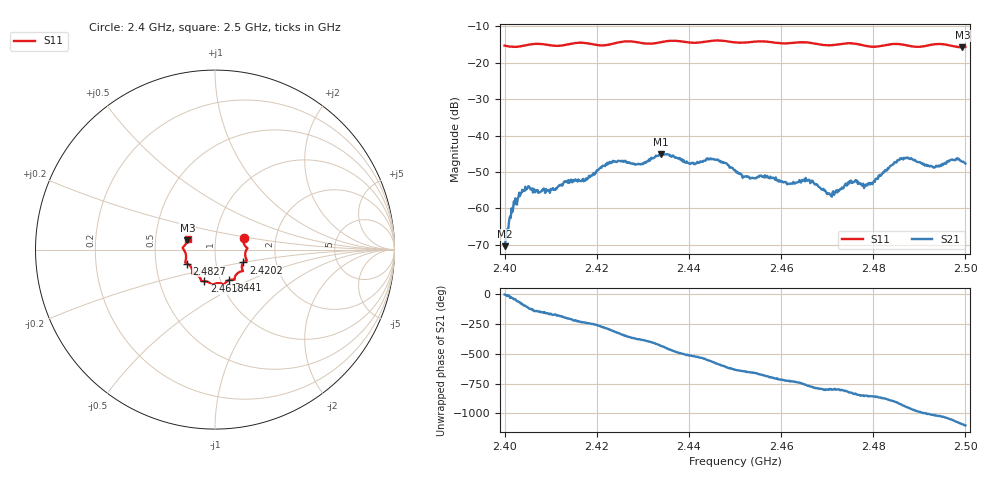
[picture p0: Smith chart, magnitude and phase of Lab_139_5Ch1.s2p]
# Hz S RI R 50
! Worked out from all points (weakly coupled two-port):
!   601 points, 2.4 GHz to 2.5 GHz, reference 50 ohm
!   highest |S21| = -45.07 dB at 2.434 GHz (marker M1); lowest = -70.4 dB at 2.4 GHz (marker M2)
!   lowest |S11| = -15.8 dB at 2.4993 GHz (marker M3), VSWR 1.39, Z = 36.5 + j3.84 ohm
!   |S11| at or under -10 dB: start of sweep to end of sweep
!   S12 and S22 are empty: the file has one direction only
!   S11 on the Smith chart (normalised r, x): 2.4 GHz: 1.36, +0.18; 2.4202 GHz: 1.36, -0.20; 2.441 GHz: 1.10, -0.39; 2.4618 GHz: 0.84, -0.30; 2.4827 GHz: 0.72, -0.12; 2.5 GHz: 0.73, +0.09
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2.4e9  0.1589 0.063  0.000303 -1.04e-05  0 0  0 0
2.402e9  0.1599 0.0393  0.000921 -0.000841  0 0  0 0
2.404e9  0.1689 0.0195  1.9e-05 -0.00172  0 0  0 0
2.416667e9  0.1773 -0.061  -0.00138 0.00193  0 0  0 0
2.420167e9  0.1586 -0.0713  -0.000597 0.00327  0 0  0 0
2.423333e9  0.1498 -0.1007  0.00253 0.00348  0 0  0 0
2.433333e9  0.1115 -0.1506  0.00249 -0.00468  0 0  0 0
2.434e9  0.1103 -0.1565  0.00153 -0.00536  0 0  0 0
2.441e9  0.0787 -0.1697  -0.00396 -0.00146  0 0  0 0
2.445833e9  0.0501 -0.195  -0.00354 0.00305  0 0  0 0
2.45e9  0.0285 -0.1874  0.00022 0.00335  0 0  0 0
2.461833e9  -0.059 -0.1755  0.00212 -0.000402  0 0  0 0
2.466667e9  -0.0787 -0.1684  0.0013 -0.0019  0 0  0 0
2.471e9  -0.1043 -0.1387  0.00033 -0.00141  0 0  0 0
2.475e9  -0.1272 -0.1336  -0.000542 -0.00221  0 0  0 0
2.479833e9  -0.1338 -0.0967  -0.00156 -0.00149  0 0  0 0
2.482667e9  -0.1561 -0.0775  -0.00301 -0.00131  0 0  0 0
2.483333e9  -0.1604 -0.0753  -0.00341 -0.000874  0 0  0 0
2.487167e9  -0.163 -0.0582  -0.00343 0.0036  0 0  0 0
2.493e9  -0.1775 0.00473  0.0014 0.0034  0 0  0 0
2.499333e9  -0.1541 0.0512  0.00429 -0.000867  0 0  0 0
2.5e9  -0.1523 0.0606  0.00384 -0.00148  0 0  0 0
